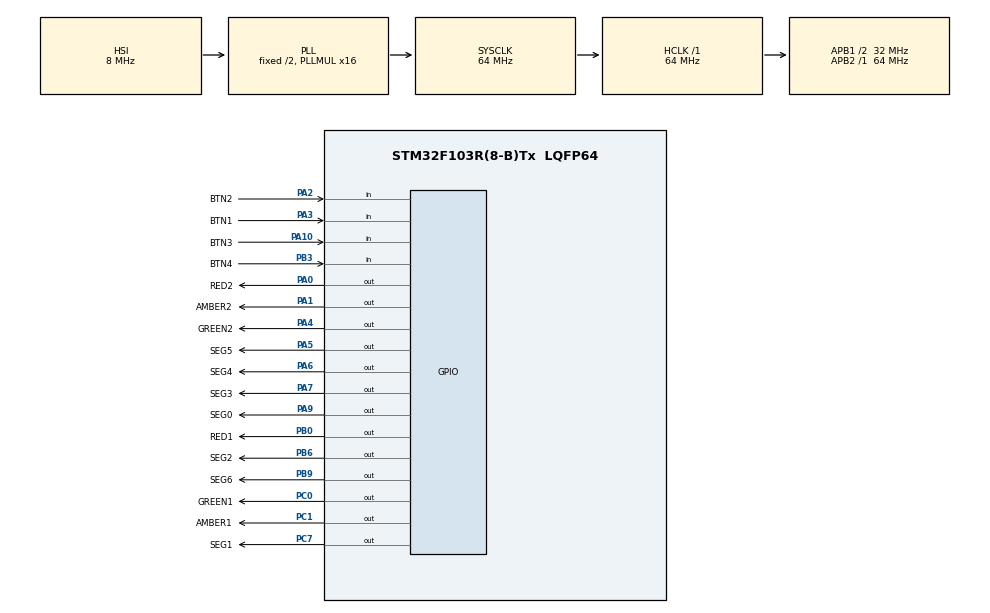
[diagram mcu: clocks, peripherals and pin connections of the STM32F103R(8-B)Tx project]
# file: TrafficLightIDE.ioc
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Mcu.Family=STM32F1
Mcu.Name=STM32F103R(8-B)Tx
Mcu.Package=LQFP64
NVIC.PriorityGroup=NVIC_PRIORITYGROUP_4
NVIC.TIM2_IRQn=true\:0\:0\:false\:false\:true\:true\:true\:true
PA0-WKUP.GPIO_Label=RED2
PA0-WKUP.Signal=GPIO_Output
PA1.GPIO_Label=AMBER2
PA1.Signal=GPIO_Output
PA10.GPIO_Label=BTN3
PA10.GPIO_PuPd=GPIO_PULLUP
PA10.Signal=GPIO_Input
PA13.Mode=Serial_Wire
PA13.Signal=SYS_JTMS-SWDIO
PA14.Mode=Serial_Wire
PA14.Signal=SYS_JTCK-SWCLK
PA2.GPIO_Label=BTN2
PA2.GPIO_PuPd=GPIO_PULLUP
PA2.Signal=GPIO_Input
PA3.GPIO_Label=BTN1
PA3.GPIO_PuPd=GPIO_PULLUP
PA3.Signal=GPIO_Input
PA4.GPIO_Label=GREEN2
PA4.Signal=GPIO_Output
PA5.GPIO_Label=SEG5
PA5.Signal=GPIO_Output
PA6.GPIO_Label=SEG4
PA6.Signal=GPIO_Output
PA7.GPIO_Label=SEG3
PA7.Signal=GPIO_Output
PA9.GPIO_Label=SEG0
PA9.Signal=GPIO_Output
PB0.GPIO_Label=RED1
PB0.Signal=GPIO_Output
PB3.GPIO_Label=BTN4
PB3.GPIO_PuPd=GPIO_PULLUP
PB3.Signal=GPIO_Input
PB6.GPIO_Label=SEG2
PB6.Signal=GPIO_Output
PB9.GPIO_Label=SEG6
PB9.Signal=GPIO_Output
PC0.GPIO_Label=GREEN1
PC0.Signal=GPIO_Output
PC1.GPIO_Label=AMBER1
PC1.Signal=GPIO_Output
PC7.GPIO_Label=SEG1
PC7.Signal=GPIO_Output
ProjectManager.HeapSize=0x200
ProjectManager.StackSize=0x400
ProjectManager.TargetToolchain=STM32CubeIDE
RCC.AHBFreq_Value=64000000
RCC.APB1CLKDivider=RCC_HCLK_DIV2
RCC.APB1Freq_Value=32000000
RCC.APB1TimFreq_Value=64000000
RCC.APB2Freq_Value=64000000
RCC.APB2TimFreq_Value=64000000
RCC.HCLKFreq_Value=64000000
RCC.PLLMUL=RCC_PLL_MUL16
RCC.SYSCLKFreq_VALUE=64000000
RCC.SYSCLKSource=RCC_SYSCLKSOURCE_PLLCLK
RCC.USBFreq_Value=64000000
TIM2.Period=624
TIM2.Prescaler=1023
VP_TIM2_VS_ClockSourceINT.Mode=Internal
board=custom

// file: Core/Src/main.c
/* USER CODE BEGIN Header */
/**
  ******************************************************************************
  * @file           : main.c
  * @brief          : Main program body
  ******************************************************************************
  * @attention
  *
  * Copyright (c) 2024 STMicroelectronics.
  * All rights reserved.
  *
  * This software is licensed under terms that can be found in the LICENSE file
  * in the root directory of this software component.
  * If no LICENSE file comes with this software, it is provided AS-IS.
  *
  ******************************************************************************
  */
/* USER CODE END Header */
#include "main.h"

/* USER CODE BEGIN Includes */
#include "global.h"
/* USER CODE END Includes */

TIM_HandleTypeDef htim2;

void SystemClock_Config(void);
static void MX_GPIO_Init(void);
static void MX_TIM2_Init(void);

/* USER CODE BEGIN 0 */

void updateTimer(void) {
	timerRun(0);
	timerRun(1);
	timerRun(2);
	timerRun(3);
	timerRun(4);
}

void buttonRead(void){
	getKeyInput(0);
	getKeyInput(1);
	getKeyInput(2);
	getKeyInput(3);
}
/* USER CODE END 0 */

int main(void)
{

  /* MCU Configuration--------------------------------------------------------*/

  /* Reset of all peripherals, Initializes the Flash interface and the Systick. */
  HAL_Init();

  /* Configure the system clock */
  SystemClock_Config();

  /* Initialize all configured peripherals */
  MX_GPIO_Init();
  MX_TIM2_Init();
  /* USER CODE BEGIN 2 */
  HAL_TIM_Base_Start_IT(&htim2);

  setTrafficLight(0, OFF);
  setTrafficLight(1, OFF);
  display7SEG(OFF);
  int i = 0;
  /* USER CODE END 2 */

  /* Infinite loop */
  /* USER CODE BEGIN WHILE */
  while (1)
  {
	  fsm_manual_run();
	  fsm_auto_run(0);
	  fsm_auto_run(1);
//	  if (isButtonPressed(1)){
//		  display7SEG(i);
//		  i++;
//		  if (i >= 10) i = 0;
//	  }
//	  display7SEG(OFF);
//	  HAL_GPIO_WritePin(RED1_GPIO_Port, RED1_Pin,
//	  			  HAL_GPIO_ReadPin(BTN1_GPIO_Port, BTN1_Pin));
//	  HAL_GPIO_WritePin(AMBER2_GPIO_Port, AMBER2_Pin,
//	  	  			  HAL_GPIO_ReadPin(BTN2_GPIO_Port, BTN2_Pin));
//	  HAL_GPIO_WritePin(GREEN1_GPIO_Port, GREEN1_Pin,
//	  	  			  HAL_GPIO_ReadPin(BTN3_GPIO_Port, BTN3_Pin));
//	  HAL_GPIO_WritePin(RED2_GPIO_Port, RED2_Pin,
//	  	  			  HAL_GPIO_ReadPin(BTN4_GPIO_Port, BTN4_Pin));
//	  if (isButtonPressed(1)) display7SEG(2);
//	  if (isButtonPressed(2)) display7SEG(3);
//	  if (isButtonPressed(3)) display7SEG(4);
  }
    /* USER CODE END WHILE */

}

void SystemClock_Config(void)
{
  RCC_OscInitTypeDef RCC_OscInitStruct = {0};
  RCC_ClkInitTypeDef RCC_ClkInitStruct = {0};

  /** Initializes the RCC Oscillators according to the specified parameters
  * in the RCC_OscInitTypeDef structure.
  */
  RCC_OscInitStruct.OscillatorType = RCC_OSCILLATORTYPE_HSI;
  RCC_OscInitStruct.HSIState = RCC_HSI_ON;
  RCC_OscInitStruct.HSICalibrationValue = RCC_HSICALIBRATION_DEFAULT;
  RCC_OscInitStruct.PLL.PLLState = RCC_PLL_ON;
  RCC_OscInitStruct.PLL.PLLSource = RCC_PLLSOURCE_HSI_DIV2;
  RCC_OscInitStruct.PLL.PLLMUL = RCC_PLL_MUL16;
  if (HAL_RCC_OscConfig(&RCC_OscInitStruct) != HAL_OK)
  {
    Error_Handler();
  }

  /** Initializes the CPU, AHB and APB buses clocks
  */
  RCC_ClkInitStruct.ClockType = RCC_CLOCKTYPE_HCLK|RCC_CLOCKTYPE_SYSCLK
                              |RCC_CLOCKTYPE_PCLK1|RCC_CLOCKTYPE_PCLK2;
  RCC_ClkInitStruct.SYSCLKSource = RCC_SYSCLKSOURCE_PLLCLK;
  RCC_ClkInitStruct.AHBCLKDivider = RCC_SYSCLK_DIV1;
  RCC_ClkInitStruct.APB1CLKDivider = RCC_HCLK_DIV2;
  RCC_ClkInitStruct.APB2CLKDivider = RCC_HCLK_DIV1;

  if (HAL_RCC_ClockConfig(&RCC_ClkInitStruct, FLASH_LATENCY_2) != HAL_OK)
  {
    Error_Handler();
  }
}

static void MX_TIM2_Init(void)
{

  TIM_ClockConfigTypeDef sClockSourceConfig = {0};
  TIM_MasterConfigTypeDef sMasterConfig = {0};

  htim2.Instance = TIM2;
  htim2.Init.Prescaler = 1023;
  htim2.Init.CounterMode = TIM_COUNTERMODE_UP;
  htim2.Init.Period = 624;
  htim2.Init.ClockDivision = TIM_CLOCKDIVISION_DIV1;
  htim2.Init.AutoReloadPreload = TIM_AUTORELOAD_PRELOAD_DISABLE;
  if (HAL_TIM_Base_Init(&htim2) != HAL_OK)
  {
    Error_Handler();
  }
  sClockSourceConfig.ClockSource = TIM_CLOCKSOURCE_INTERNAL;
  if (HAL_TIM_ConfigClockSource(&htim2, &sClockSourceConfig) != HAL_OK)
  {
    Error_Handler();
  }
  sMasterConfig.MasterOutputTrigger = TIM_TRGO_RESET;
  sMasterConfig.MasterSlaveMode = TIM_MASTERSLAVEMODE_DISABLE;
  if (HAL_TIMEx_MasterConfigSynchronization(&htim2, &sMasterConfig) != HAL_OK)
  {
    Error_Handler();
  }

}

static void MX_GPIO_Init(void)
{
  GPIO_InitTypeDef GPIO_InitStruct = {0};

  /* GPIO Ports Clock Enable */
  __HAL_RCC_GPIOC_CLK_ENABLE();
  __HAL_RCC_GPIOA_CLK_ENABLE();
  __HAL_RCC_GPIOB_CLK_ENABLE();

  /*Configure GPIO pin Output Level */
  HAL_GPIO_WritePin(GPIOC, GREEN1_Pin|AMBER1_Pin|SEG1_Pin, GPIO_PIN_RESET);

  /*Configure GPIO pin Output Level */
  HAL_GPIO_WritePin(GPIOA, RED2_Pin|AMBER2_Pin|GREEN2_Pin|SEG5_Pin
                          |SEG4_Pin|SEG3_Pin|SEG0_Pin, GPIO_PIN_RESET);

  /*Configure GPIO pin Output Level */
  HAL_GPIO_WritePin(GPIOB, RED1_Pin|SEG2_Pin|SEG6_Pin, GPIO_PIN_RESET);

  /*Configure GPIO pins : GREEN1_Pin AMBER1_Pin SEG1_Pin */
  GPIO_InitStruct.Pin = GREEN1_Pin|AMBER1_Pin|SEG1_Pin;
  GPIO_InitStruct.Mode = GPIO_MODE_OUTPUT_PP;
  GPIO_InitStruct.Pull = GPIO_NOPULL;
  GPIO_InitStruct.Speed = GPIO_SPEED_FREQ_LOW;
  HAL_GPIO_Init(GPIOC, &GPIO_InitStruct);

  /*Configure GPIO pins : RED2_Pin AMBER2_Pin GREEN2_Pin SEG5_Pin
                           SEG4_Pin SEG3_Pin SEG0_Pin */
  GPIO_InitStruct.Pin = RED2_Pin|AMBER2_Pin|GREEN2_Pin|SEG5_Pin
                          |SEG4_Pin|SEG3_Pin|SEG0_Pin;
  GPIO_InitStruct.Mode = GPIO_MODE_OUTPUT_PP;
  GPIO_InitStruct.Pull = GPIO_NOPULL;
  GPIO_InitStruct.Speed = GPIO_SPEED_FREQ_LOW;
  HAL_GPIO_Init(GPIOA, &GPIO_InitStruct);

  /*Configure GPIO pins : BTN2_Pin BTN1_Pin BTN3_Pin */
  GPIO_InitStruct.Pin = BTN2_Pin|BTN1_Pin|BTN3_Pin;
  GPIO_InitStruct.Mode = GPIO_MODE_INPUT;
  GPIO_InitStruct.Pull = GPIO_PULLUP;
  HAL_GPIO_Init(GPIOA, &GPIO_InitStruct);

  /*Configure GPIO pins : RED1_Pin SEG2_Pin SEG6_Pin */
  GPIO_InitStruct.Pin = RED1_Pin|SEG2_Pin|SEG6_Pin;
  GPIO_InitStruct.Mode = GPIO_MODE_OUTPUT_PP;
  GPIO_InitStruct.Pull = GPIO_NOPULL;
  GPIO_InitStruct.Speed = GPIO_SPEED_FREQ_LOW;
  HAL_GPIO_Init(GPIOB, &GPIO_InitStruct);

  /*Configure GPIO pin : BTN4_Pin */
  GPIO_InitStruct.Pin = BTN4_Pin;
  GPIO_InitStruct.Mode = GPIO_MODE_INPUT;
  GPIO_InitStruct.Pull = GPIO_PULLUP;
  HAL_GPIO_Init(BTN4_GPIO_Port, &GPIO_InitStruct);

}

/* USER CODE BEGIN 4 */
void HAL_TIM_PeriodElapsedCallback(TIM_HandleTypeDef *htim){
	updateTimer();
	buttonRead();
}
/* USER CODE END 4 */

void Error_Handler(void)
{
  __disable_irq();
  while (1)
  {
  }
}
